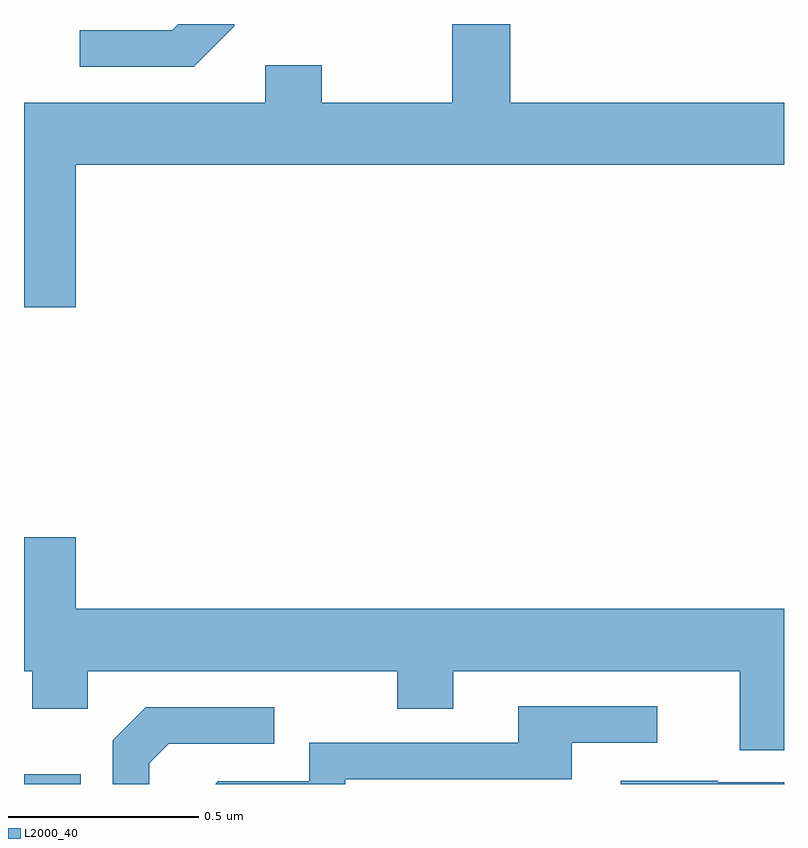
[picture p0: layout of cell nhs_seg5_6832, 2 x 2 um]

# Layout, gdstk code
import gdstk
lib = gdstk.Library(unit=1e-6, precision=1e-09)
def R(c, l, rs):  # rectangles x0, y0, x1, y1
    for r in rs: c.add(gdstk.rectangle(r[:2], r[2:], *l))
def P(c, l, *ps):  # polygons
    for p in ps: c.add(gdstk.Polygon(p, *l))
L2000_40 = (2000, 40)

nhs_seg5_6832 = lib.new_cell('nhs_seg5_6832')
R(nhs_seg5_6832, L2000_40, [(201,853.799,201.149,853.825)])
P(nhs_seg5_6832, L2000_40, [(201.136,855.428),(203,855.428),(203,855.592),(202.28,855.592),(202.28,855.799),(202.127,855.799),(202.127,855.592),(201.783,855.592),(201.783,855.691),(201.635,855.691),(201.635,855.592),(201,855.592),(201,855.054),(201.136,855.054)],
  [(201.553,855.793),(201.553,855.799),(201.406,855.799),(201.39,855.783),(201.147,855.783),(201.147,855.687),(201.447,855.687)],
  [(203,854.26),(201.136,854.26),(201.136,854.449),(201,854.449),(201,854.096),(201.022,854.096),(201.022,853.997),(201.168,853.997),(201.168,854.096),(201.982,854.096),(201.982,853.997),(202.129,853.997),(202.129,854.096),(202.883,854.096),(202.883,853.888),(203,853.888)],
  [(201.846,853.812),(202.441,853.812),(202.441,853.908),(202.666,853.908),(202.666,854.004),(202.301,854.004),(202.301,853.908),(201.75,853.908),(201.75,853.806),(201.51,853.806),(201.503,853.799),(201.846,853.799)],
  [(201.33,853.854),(201.381,853.905),(201.658,853.905),(201.658,854.001),(201.321,854.001),(201.234,853.914),(201.234,853.799),(201.33,853.799)],
  [(203,853.803),(202.825,853.803),(202.825,853.807),(202.571,853.807),(202.571,853.799),(203,853.799)])

lib.write_gds('nhs_seg5_6832.gds')
